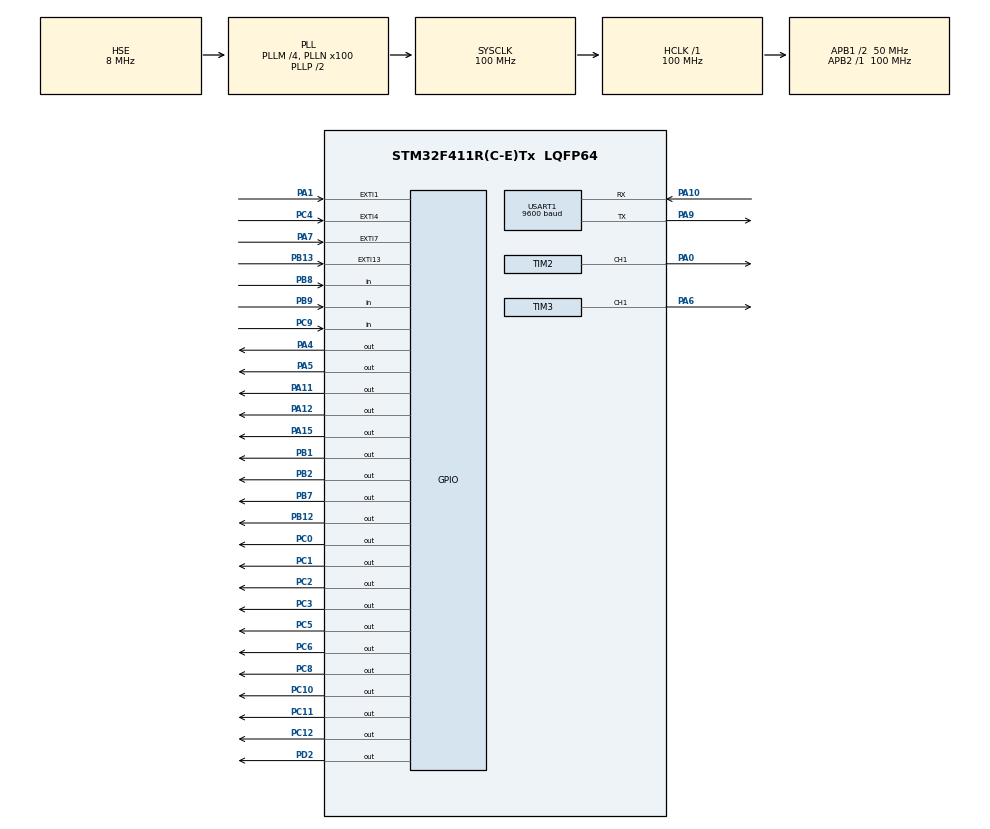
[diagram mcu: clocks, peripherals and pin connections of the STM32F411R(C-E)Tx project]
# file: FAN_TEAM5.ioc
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Mcu.Family=STM32F4
Mcu.Name=STM32F411R(C-E)Tx
Mcu.Package=LQFP64
NVIC.EXTI15_10_IRQn=true\:0\:0\:false\:false\:true\:true\:true\:true
NVIC.EXTI1_IRQn=true\:0\:0\:false\:false\:true\:true\:true\:true
NVIC.EXTI4_IRQn=true\:0\:0\:false\:false\:true\:true\:true\:true
NVIC.EXTI9_5_IRQn=true\:0\:0\:false\:false\:true\:true\:true\:true
NVIC.PriorityGroup=NVIC_PRIORITYGROUP_4
NVIC.USART1_IRQn=true\:0\:0\:false\:false\:true\:true\:true\:true
PA0-WKUP.Signal=S_TIM2_CH1_ETR
PA1.GPIO_ModeDefaultEXTI=GPIO_MODE_IT_FALLING
PA1.GPIO_PuPd=GPIO_PULLUP
PA1.Signal=GPXTI1
PA10.Mode=Asynchronous
PA10.Signal=USART1_RX
PA11.Signal=GPIO_Output
PA12.Signal=GPIO_Output
PA13.Mode=Serial_Wire
PA13.Signal=SYS_JTMS-SWDIO
PA14.Mode=Serial_Wire
PA14.Signal=SYS_JTCK-SWCLK
PA15.Signal=GPIO_Output
PA4.Signal=GPIO_Output
PA5.Signal=GPIO_Output
PA6.Signal=S_TIM3_CH1
PA7.GPIO_ModeDefaultEXTI=GPIO_MODE_IT_FALLING
PA7.GPIO_PuPd=GPIO_PULLUP
PA7.Signal=GPXTI7
PA9.Mode=Asynchronous
PA9.Signal=USART1_TX
PB1.Signal=GPIO_Output
PB12.Signal=GPIO_Output
PB13.GPIO_ModeDefaultEXTI=GPIO_MODE_IT_FALLING
PB13.GPIO_PuPd=GPIO_PULLUP
PB13.Signal=GPXTI13
PB2.Signal=GPIO_Output
PB7.Signal=GPIO_Output
PB8.Signal=GPIO_Input
PB9.Signal=GPIO_Input
PC0.Signal=GPIO_Output
PC1.Signal=GPIO_Output
PC10.Signal=GPIO_Output
PC11.Signal=GPIO_Output
PC12.Signal=GPIO_Output
PC2.Signal=GPIO_Output
PC3.Signal=GPIO_Output
PC4.GPIO_ModeDefaultEXTI=GPIO_MODE_IT_FALLING
PC4.GPIO_PuPd=GPIO_PULLUP
PC4.Signal=GPXTI4
PC5.Signal=GPIO_Output
PC6.Signal=GPIO_Output
PC8.Signal=GPIO_Output
PC9.Signal=GPIO_Input
PD2.Signal=GPIO_Output
PH0\ -\ OSC_IN.Mode=HSE-External-Clock-Source
PH0\ -\ OSC_IN.Signal=RCC_OSC_IN
PH1\ -\ OSC_OUT.Mode=HSE-External-Clock-Source
PH1\ -\ OSC_OUT.Signal=RCC_OSC_OUT
ProjectManager.HeapSize=0x200
ProjectManager.StackSize=0x400
ProjectManager.TargetToolchain=STM32CubeIDE
RCC.48MHZClocksFreq_Value=50000000
RCC.AHBFreq_Value=100000000
RCC.APB1CLKDivider=RCC_HCLK_DIV2
RCC.APB1Freq_Value=50000000
RCC.APB1TimFreq_Value=100000000
RCC.APB2Freq_Value=100000000
RCC.APB2TimFreq_Value=100000000
RCC.CortexFreq_Value=100000000
RCC.HCLKFreq_Value=100000000
RCC.HSE_VALUE=8000000
RCC.HSI_VALUE=16000000
RCC.LSE_VALUE=32768
RCC.PLLM=4
RCC.PLLN=100
RCC.PLLSourceVirtual=RCC_PLLSOURCE_HSE
RCC.SYSCLKFreq_VALUE=100000000
RCC.SYSCLKSource=RCC_SYSCLKSOURCE_PLLCLK
RCC.VCOOutputFreq_Value=200000000
SH.S_TIM2_CH1_ETR.0=TIM2_CH1,PWM Generation1 CH1
SH.S_TIM3_CH1.0=TIM3_CH1,PWM Generation1 CH1
TIM2.Channel-PWM\ Generation1\ CH1=TIM_CHANNEL_1
TIM2.Period=49
TIM2.Prescaler=83
TIM2.Pulse-PWM\ Generation1\ CH1=25
TIM3.Channel-PWM\ Generation1\ CH1=TIM_CHANNEL_1
TIM3.Period=1000-1
TIM3.Prescaler=2000-1
TIM3.Pulse-PWM\ Generation1\ CH1=300
USART1.BaudRate=9600
USART1.VirtualMode=VM_ASYNC
board=custom

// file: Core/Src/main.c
/* USER CODE BEGIN Header */
/**
  ******************************************************************************
  * @file           : main.c
  * @brief          : FAN_TEAM5
  ******************************************************************************
  * @attention
  *
  * Copyright (c) 2026 STMicroelectronics.
  * All rights reserved.
  *
  * This software is licensed under terms that can be found in the LICENSE file
  * in the root directory of this software component.
  * If no LICENSE file comes with this software, it is provided AS-IS.
  *
  ******************************************************************************
  */
/* USER CODE END Header */
#include "main.h"
#include "tim.h"
#include "usart.h"
#include "gpio.h"

/* USER CODE BEGIN Includes */

#include "led.h"
#include "button.h"
#include "rotate.h"
#include "bt.h"
#include "fan.h"
#include "fnd.h"

/* USER CODE END Includes */

void SystemClock_Config(void);
/* USER CODE BEGIN PFP */

void HAL_UART_RxCpltCallback(UART_HandleTypeDef *huart)		//블루투스 인터럽트
{
	HAL_UART_Receive_IT(&huart1, rxData, 1);
}

/* USER CODE END PFP */

int main(void)
{

  /* MCU Configuration--------------------------------------------------------*/

  /* Reset of all peripherals, Initializes the Flash interface and the Systick. */
  HAL_Init();

  /* Configure the system clock */
  SystemClock_Config();

  /* Initialize all configured peripherals */
  MX_GPIO_Init();
  MX_TIM3_Init();
  MX_USART1_UART_Init();
  MX_TIM2_Init();
  /* USER CODE BEGIN 2 */

  HAL_TIM_PWM_Start(&htim3, TIM_CHANNEL_1);	//서브모터
  HAL_TIM_PWM_Start(&htim2, TIM_CHANNEL_1);	//선풍기모터
  HAL_UART_Receive_IT(&huart1, rxData, 1);	//블루투스
  TIM2->CCR1 = 0;		//선풍기모터 초기화

  /* USER CODE END 2 */

  /* Infinite loop */
  /* USER CODE BEGIN WHILE */

  while (1)
  {

	  Fan();		//선풍기
	  rotate();		//서브모터
	  FND_CONTROL();	//FNDcnffur
	  Check();		//블루투스

    /* USER CODE END WHILE */

  }
}

void SystemClock_Config(void)
{
  RCC_OscInitTypeDef RCC_OscInitStruct = {0};
  RCC_ClkInitTypeDef RCC_ClkInitStruct = {0};

  /** Configure the main internal regulator output voltage
  */
  __HAL_RCC_PWR_CLK_ENABLE();
  __HAL_PWR_VOLTAGESCALING_CONFIG(PWR_REGULATOR_VOLTAGE_SCALE1);

  /** Initializes the RCC Oscillators according to the specified parameters
  * in the RCC_OscInitTypeDef structure.
  */
  RCC_OscInitStruct.OscillatorType = RCC_OSCILLATORTYPE_HSE;
  RCC_OscInitStruct.HSEState = RCC_HSE_BYPASS;
  RCC_OscInitStruct.PLL.PLLState = RCC_PLL_ON;
  RCC_OscInitStruct.PLL.PLLSource = RCC_PLLSOURCE_HSE;
  RCC_OscInitStruct.PLL.PLLM = 4;
  RCC_OscInitStruct.PLL.PLLN = 100;
  RCC_OscInitStruct.PLL.PLLP = RCC_PLLP_DIV2;
  RCC_OscInitStruct.PLL.PLLQ = 4;
  if (HAL_RCC_OscConfig(&RCC_OscInitStruct) != HAL_OK)
  {
    Error_Handler();
  }

  /** Initializes the CPU, AHB and APB buses clocks
  */
  RCC_ClkInitStruct.ClockType = RCC_CLOCKTYPE_HCLK|RCC_CLOCKTYPE_SYSCLK
                              |RCC_CLOCKTYPE_PCLK1|RCC_CLOCKTYPE_PCLK2;
  RCC_ClkInitStruct.SYSCLKSource = RCC_SYSCLKSOURCE_PLLCLK;
  RCC_ClkInitStruct.AHBCLKDivider = RCC_SYSCLK_DIV1;
  RCC_ClkInitStruct.APB1CLKDivider = RCC_HCLK_DIV2;
  RCC_ClkInitStruct.APB2CLKDivider = RCC_HCLK_DIV1;

  if (HAL_RCC_ClockConfig(&RCC_ClkInitStruct, FLASH_LATENCY_3) != HAL_OK)
  {
    Error_Handler();
  }
}

void Error_Handler(void)
{
  __disable_irq();
  while (1)
  {
  }
}
